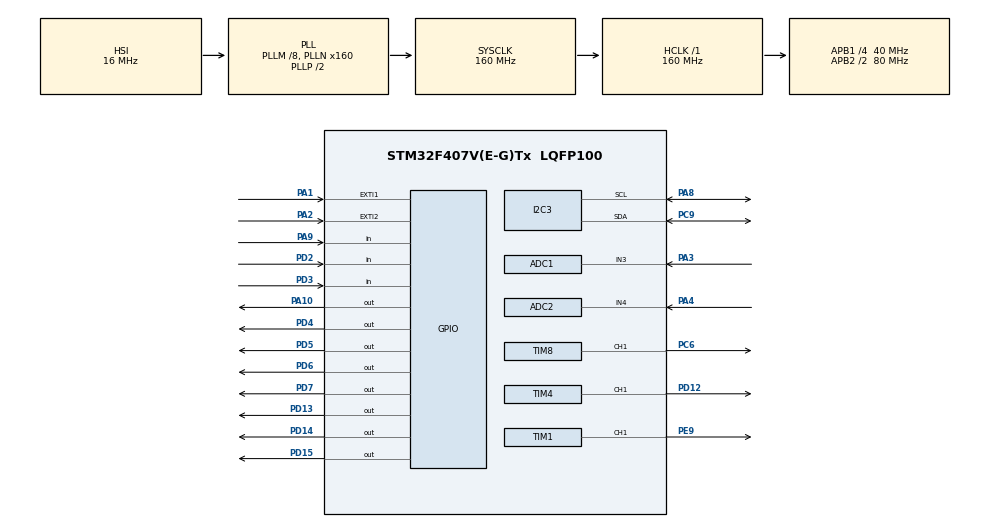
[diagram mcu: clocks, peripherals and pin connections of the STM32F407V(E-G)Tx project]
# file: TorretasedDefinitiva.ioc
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ADC1.Channel-0\#ChannelRegularConversion=ADC_CHANNEL_3
ADC1.NbrOfConversionFlag=1
ADC1.Rank-0\#ChannelRegularConversion=1
ADC1.SamplingTime-0\#ChannelRegularConversion=ADC_SAMPLETIME_3CYCLES
ADC1.master=1
ADC2.Channel-0\#ChannelRegularConversion=ADC_CHANNEL_4
ADC2.NbrOfConversionFlag=1
ADC2.Rank-0\#ChannelRegularConversion=1
ADC2.SamplingTime-0\#ChannelRegularConversion=ADC_SAMPLETIME_3CYCLES
Mcu.Family=STM32F4
Mcu.Name=STM32F407V(E-G)Tx
Mcu.Package=LQFP100
NVIC.EXTI1_IRQn=true\:0\:0\:false\:false\:true\:true\:true
NVIC.EXTI2_IRQn=true\:0\:0\:false\:false\:true\:true\:true
NVIC.PriorityGroup=NVIC_PRIORITYGROUP_0
PA1.Signal=GPXTI1
PA10.Signal=GPIO_Output
PA2.Signal=GPXTI2
PA3.Signal=ADCx_IN3
PA4.Signal=ADCx_IN4
PA8.Mode=I2C
PA8.Signal=I2C3_SCL
PA9.Signal=GPIO_Input
PC6.Signal=S_TIM8_CH1
PC9.Mode=I2C
PC9.Signal=I2C3_SDA
PD12.Signal=S_TIM4_CH1
PD13.Signal=GPIO_Output
PD14.Signal=GPIO_Output
PD15.Signal=GPIO_Output
PD2.Signal=GPIO_Input
PD3.Signal=GPIO_Input
PD4.Signal=GPIO_Output
PD5.Signal=GPIO_Output
PD6.Signal=GPIO_Output
PD7.Signal=GPIO_Output
PE9.Signal=S_TIM1_CH1
ProjectManager.HeapSize=0x200
ProjectManager.StackSize=0x400
ProjectManager.TargetToolchain=MDK-ARM V5
RCC.48MHZClocksFreq_Value=45714285.71428572
RCC.AHBFreq_Value=160000000
RCC.APB1CLKDivider=RCC_HCLK_DIV4
RCC.APB1Freq_Value=40000000
RCC.APB1TimFreq_Value=80000000
RCC.APB2CLKDivider=RCC_HCLK_DIV2
RCC.APB2Freq_Value=80000000
RCC.APB2TimFreq_Value=160000000
RCC.CortexFreq_Value=160000000
RCC.HCLKFreq_Value=160000000
RCC.HSE_VALUE=8000000
RCC.HSI_VALUE=16000000
RCC.LSE_VALUE=32768
RCC.PLLM=8
RCC.PLLN=160
RCC.PLLQ=7
RCC.SYSCLKFreq_VALUE=160000000
RCC.SYSCLKSource=RCC_SYSCLKSOURCE_PLLCLK
RCC.VCOOutputFreq_Value=320000000
SH.ADCx_IN3.0=ADC1_IN3,IN3
SH.ADCx_IN4.0=ADC2_IN4,IN4
SH.S_TIM1_CH1.0=TIM1_CH1,PWM Generation1 CH1
SH.S_TIM4_CH1.0=TIM4_CH1,PWM Generation1 CH1
SH.S_TIM8_CH1.0=TIM8_CH1,PWM Generation1 CH1
TIM1.Channel-PWM\ Generation1\ CH1=TIM_CHANNEL_1
TIM1.Period=1999
TIM1.Prescaler=1599
TIM4.Channel-PWM\ Generation1\ CH1=TIM_CHANNEL_1
TIM4.Period=1999
TIM4.Prescaler=799
TIM8.Channel-PWM\ Generation1\ CH1=TIM_CHANNEL_1
TIM8.Prescaler=159
board=STM32F407G-DISC1

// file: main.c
/* USER CODE BEGIN Header */
/**
  ******************************************************************************
  * @file           : main.c
  * @brief          : Main program body
  ******************************************************************************
  * @attention
  *
  * <h2><center>&copy; Copyright (c) 2020 STMicroelectronics.
  * All rights reserved.</center></h2>
  *
  * This software component is licensed by ST under BSD 3-Clause license,
  * the "License"; You may not use this file except in compliance with the
  * License. You may obtain a copy of the License at:
  *                        opensource.org/licenses/BSD-3-Clause
  *
  ******************************************************************************
  */
/* USER CODE END Header */

#include "main.h"

ADC_HandleTypeDef hadc1;
ADC_HandleTypeDef hadc2;

I2C_HandleTypeDef hi2c3;

TIM_HandleTypeDef htim1;
TIM_HandleTypeDef htim4;
TIM_HandleTypeDef htim8;

void SystemClock_Config(void);
static void MX_GPIO_Init(void);
static void MX_ADC1_Init(void);
static void MX_I2C3_Init(void);
static void MX_TIM1_Init(void);
static void MX_TIM4_Init(void);
static void MX_TIM8_Init(void);
static void MX_ADC2_Init(void);

/* USER CODE BEGIN 0 */
#define d_min 10
#define d_max 30
#define DirI2C_MLX 0x5A

void servo_vertical(int angulo);
void servo_horizontal(int angulo);
void usDelay(uint32_t );
void Delay(int );
int moverMapeo();
int triangulo(int, int);
int hayPersona();
float medirDistancia ();
float medirTemperatura ();
float medirTempAmb(I2C_HandleTypeDef* DriverI2C, uint8_t DireccI2C );
float medirTempObj(I2C_HandleTypeDef* DriverI2C, uint8_t DireccI2C );
int mapeado (int st1 , int fn1, int st2 , int fn2, int valor);
void joystick();

volatile int iniciar=0,finalizar=0;
uint32_t adcVal0=0,adcVal1;
uint32_t dis,tobj,tamb;
int gradosz,gradosx;

void HAL_GPIO_EXTI_Callback(uint16_t GPIO_Pin)
{
 if(GPIO_Pin==GPIO_PIN_1)
	 iniciar=1;

}

/* USER CODE END 0 */

int main(void)
{
  /* USER CODE BEGIN 1 */
	int persona; float dm;

  HAL_GPIO_EXTI_IRQHandler(GPIO_PIN_1);
	HAL_GPIO_EXTI_IRQHandler(GPIO_PIN_2);

  /* USER CODE END 1 */

  /* MCU Configuration--------------------------------------------------------*/

  /* Reset of all peripherals, Initializes the Flash interface and the Systick. */
  HAL_Init();

  /* Configure the system clock */
  SystemClock_Config();

  /* Initialize all configured peripherals */
  MX_GPIO_Init();
  MX_ADC1_Init();
  MX_I2C3_Init();
  MX_TIM1_Init();
  MX_TIM4_Init();
  MX_TIM8_Init();
  MX_ADC2_Init();
  /* USER CODE BEGIN 2 */
	HAL_TIM_PWM_Start(&htim4, TIM_CHANNEL_1);
  HAL_TIM_PWM_Start(&htim1, TIM_CHANNEL_1);
	int modo=0;
	float numTicks, medida=0;

  /* USER CODE END 2 */

  /* Infinite loop */
  while (1)
  {
 HAL_NVIC_EnableIRQ(EXTI1_IRQn);
		if ( HAL_GPIO_ReadPin(GPIOD,GPIO_PIN_2)==0 && iniciar==1){
		if(moverMapeo())
			{
				HAL_GPIO_WritePin(GPIOD,GPIO_PIN_6,1);
				Delay(5000);
			}}
		else
				if (HAL_GPIO_ReadPin(GPIOD,GPIO_PIN_2)==1)
			joystick();
}
}

void SystemClock_Config(void)
{
  RCC_OscInitTypeDef RCC_OscInitStruct = {0};
  RCC_ClkInitTypeDef RCC_ClkInitStruct = {0};

  /** Configure the main internal regulator output voltage
  */
  __HAL_RCC_PWR_CLK_ENABLE();
  __HAL_PWR_VOLTAGESCALING_CONFIG(PWR_REGULATOR_VOLTAGE_SCALE1);
  /** Initializes the CPU, AHB and APB busses clocks
  */
  RCC_OscInitStruct.OscillatorType = RCC_OSCILLATORTYPE_HSI;
  RCC_OscInitStruct.HSIState = RCC_HSI_ON;
  RCC_OscInitStruct.HSICalibrationValue = RCC_HSICALIBRATION_DEFAULT;
  RCC_OscInitStruct.PLL.PLLState = RCC_PLL_ON;
  RCC_OscInitStruct.PLL.PLLSource = RCC_PLLSOURCE_HSI;
  RCC_OscInitStruct.PLL.PLLM = 8;
  RCC_OscInitStruct.PLL.PLLN = 160;
  RCC_OscInitStruct.PLL.PLLP = RCC_PLLP_DIV2;
  RCC_OscInitStruct.PLL.PLLQ = 7;
  if (HAL_RCC_OscConfig(&RCC_OscInitStruct) != HAL_OK)
  {
    Error_Handler();
  }
  /** Initializes the CPU, AHB and APB busses clocks
  */
  RCC_ClkInitStruct.ClockType = RCC_CLOCKTYPE_HCLK|RCC_CLOCKTYPE_SYSCLK
                              |RCC_CLOCKTYPE_PCLK1|RCC_CLOCKTYPE_PCLK2;
  RCC_ClkInitStruct.SYSCLKSource = RCC_SYSCLKSOURCE_PLLCLK;
  RCC_ClkInitStruct.AHBCLKDivider = RCC_SYSCLK_DIV1;
  RCC_ClkInitStruct.APB1CLKDivider = RCC_HCLK_DIV4;
  RCC_ClkInitStruct.APB2CLKDivider = RCC_HCLK_DIV2;

  if (HAL_RCC_ClockConfig(&RCC_ClkInitStruct, FLASH_LATENCY_5) != HAL_OK)
  {
    Error_Handler();
  }
}

static void MX_ADC1_Init(void)
{

  ADC_ChannelConfTypeDef sConfig = {0};

  /** Configure the global features of the ADC (Clock, Resolution, Data Alignment and number of conversion)
  */
  hadc1.Instance = ADC1;
  hadc1.Init.ClockPrescaler = ADC_CLOCK_SYNC_PCLK_DIV4;
  hadc1.Init.Resolution = ADC_RESOLUTION_12B;
  hadc1.Init.ScanConvMode = DISABLE;
  hadc1.Init.ContinuousConvMode = DISABLE;
  hadc1.Init.DiscontinuousConvMode = DISABLE;
  hadc1.Init.ExternalTrigConvEdge = ADC_EXTERNALTRIGCONVEDGE_NONE;
  hadc1.Init.ExternalTrigConv = ADC_SOFTWARE_START;
  hadc1.Init.DataAlign = ADC_DATAALIGN_RIGHT;
  hadc1.Init.NbrOfConversion = 1;
  hadc1.Init.DMAContinuousRequests = DISABLE;
  hadc1.Init.EOCSelection = ADC_EOC_SINGLE_CONV;
  if (HAL_ADC_Init(&hadc1) != HAL_OK)
  {
    Error_Handler();
  }
  /** Configure for the selected ADC regular channel its corresponding rank in the sequencer and its sample time.
  */
  sConfig.Channel = ADC_CHANNEL_3;
  sConfig.Rank = 1;
  sConfig.SamplingTime = ADC_SAMPLETIME_3CYCLES;
  if (HAL_ADC_ConfigChannel(&hadc1, &sConfig) != HAL_OK)
  {
    Error_Handler();
  }

}

static void MX_ADC2_Init(void)
{

  ADC_ChannelConfTypeDef sConfig = {0};

  /** Configure the global features of the ADC (Clock, Resolution, Data Alignment and number of conversion)
  */
  hadc2.Instance = ADC2;
  hadc2.Init.ClockPrescaler = ADC_CLOCK_SYNC_PCLK_DIV4;
  hadc2.Init.Resolution = ADC_RESOLUTION_12B;
  hadc2.Init.ScanConvMode = DISABLE;
  hadc2.Init.ContinuousConvMode = DISABLE;
  hadc2.Init.DiscontinuousConvMode = DISABLE;
  hadc2.Init.ExternalTrigConvEdge = ADC_EXTERNALTRIGCONVEDGE_NONE;
  hadc2.Init.ExternalTrigConv = ADC_SOFTWARE_START;
  hadc2.Init.DataAlign = ADC_DATAALIGN_RIGHT;
  hadc2.Init.NbrOfConversion = 1;
  hadc2.Init.DMAContinuousRequests = DISABLE;
  hadc2.Init.EOCSelection = ADC_EOC_SINGLE_CONV;
  if (HAL_ADC_Init(&hadc2) != HAL_OK)
  {
    Error_Handler();
  }
  /** Configure for the selected ADC regular channel its corresponding rank in the sequencer and its sample time.
  */
  sConfig.Channel = ADC_CHANNEL_4;
  sConfig.Rank = 1;
  sConfig.SamplingTime = ADC_SAMPLETIME_3CYCLES;
  if (HAL_ADC_ConfigChannel(&hadc2, &sConfig) != HAL_OK)
  {
    Error_Handler();
  }

}

static void MX_I2C3_Init(void)
{

  hi2c3.Instance = I2C3;
  hi2c3.Init.ClockSpeed = 100000;
  hi2c3.Init.DutyCycle = I2C_DUTYCYCLE_2;
  hi2c3.Init.OwnAddress1 = 0;
  hi2c3.Init.AddressingMode = I2C_ADDRESSINGMODE_7BIT;
  hi2c3.Init.DualAddressMode = I2C_DUALADDRESS_DISABLE;
  hi2c3.Init.OwnAddress2 = 0;
  hi2c3.Init.GeneralCallMode = I2C_GENERALCALL_DISABLE;
  hi2c3.Init.NoStretchMode = I2C_NOSTRETCH_DISABLE;
  if (HAL_I2C_Init(&hi2c3) != HAL_OK)
  {
    Error_Handler();
  }

}

static void MX_TIM1_Init(void)
{

  TIM_MasterConfigTypeDef sMasterConfig = {0};
  TIM_OC_InitTypeDef sConfigOC = {0};
  TIM_BreakDeadTimeConfigTypeDef sBreakDeadTimeConfig = {0};

  htim1.Instance = TIM1;
  htim1.Init.Prescaler = 1599;
  htim1.Init.CounterMode = TIM_COUNTERMODE_UP;
  htim1.Init.Period = 1999;
  htim1.Init.ClockDivision = TIM_CLOCKDIVISION_DIV1;
  htim1.Init.RepetitionCounter = 0;
  htim1.Init.AutoReloadPreload = TIM_AUTORELOAD_PRELOAD_DISABLE;
  if (HAL_TIM_PWM_Init(&htim1) != HAL_OK)
  {
    Error_Handler();
  }
  sMasterConfig.MasterOutputTrigger = TIM_TRGO_RESET;
  sMasterConfig.MasterSlaveMode = TIM_MASTERSLAVEMODE_DISABLE;
  if (HAL_TIMEx_MasterConfigSynchronization(&htim1, &sMasterConfig) != HAL_OK)
  {
    Error_Handler();
  }
  sConfigOC.OCMode = TIM_OCMODE_PWM1;
  sConfigOC.Pulse = 0;
  sConfigOC.OCPolarity = TIM_OCPOLARITY_HIGH;
  sConfigOC.OCNPolarity = TIM_OCNPOLARITY_HIGH;
  sConfigOC.OCFastMode = TIM_OCFAST_DISABLE;
  sConfigOC.OCIdleState = TIM_OCIDLESTATE_RESET;
  sConfigOC.OCNIdleState = TIM_OCNIDLESTATE_RESET;
  if (HAL_TIM_PWM_ConfigChannel(&htim1, &sConfigOC, TIM_CHANNEL_1) != HAL_OK)
  {
    Error_Handler();
  }
  sBreakDeadTimeConfig.OffStateRunMode = TIM_OSSR_DISABLE;
  sBreakDeadTimeConfig.OffStateIDLEMode = TIM_OSSI_DISABLE;
  sBreakDeadTimeConfig.LockLevel = TIM_LOCKLEVEL_OFF;
  sBreakDeadTimeConfig.DeadTime = 0;
  sBreakDeadTimeConfig.BreakState = TIM_BREAK_DISABLE;
  sBreakDeadTimeConfig.BreakPolarity = TIM_BREAKPOLARITY_HIGH;
  sBreakDeadTimeConfig.AutomaticOutput = TIM_AUTOMATICOUTPUT_DISABLE;
  if (HAL_TIMEx_ConfigBreakDeadTime(&htim1, &sBreakDeadTimeConfig) != HAL_OK)
  {
    Error_Handler();
  }
  HAL_TIM_MspPostInit(&htim1);

}

static void MX_TIM4_Init(void)
{

  TIM_MasterConfigTypeDef sMasterConfig = {0};
  TIM_OC_InitTypeDef sConfigOC = {0};

  htim4.Instance = TIM4;
  htim4.Init.Prescaler = 799;
  htim4.Init.CounterMode = TIM_COUNTERMODE_UP;
  htim4.Init.Period = 1999;
  htim4.Init.ClockDivision = TIM_CLOCKDIVISION_DIV1;
  htim4.Init.AutoReloadPreload = TIM_AUTORELOAD_PRELOAD_DISABLE;
  if (HAL_TIM_PWM_Init(&htim4) != HAL_OK)
  {
    Error_Handler();
  }
  sMasterConfig.MasterOutputTrigger = TIM_TRGO_RESET;
  sMasterConfig.MasterSlaveMode = TIM_MASTERSLAVEMODE_DISABLE;
  if (HAL_TIMEx_MasterConfigSynchronization(&htim4, &sMasterConfig) != HAL_OK)
  {
    Error_Handler();
  }
  sConfigOC.OCMode = TIM_OCMODE_PWM1;
  sConfigOC.Pulse = 0;
  sConfigOC.OCPolarity = TIM_OCPOLARITY_HIGH;
  sConfigOC.OCFastMode = TIM_OCFAST_DISABLE;
  if (HAL_TIM_PWM_ConfigChannel(&htim4, &sConfigOC, TIM_CHANNEL_1) != HAL_OK)
  {
    Error_Handler();
  }
  HAL_TIM_MspPostInit(&htim4);

}

static void MX_TIM8_Init(void)
{

  TIM_MasterConfigTypeDef sMasterConfig = {0};
  TIM_OC_InitTypeDef sConfigOC = {0};
  TIM_BreakDeadTimeConfigTypeDef sBreakDeadTimeConfig = {0};

  htim8.Instance = TIM8;
  htim8.Init.Prescaler = 159;
  htim8.Init.CounterMode = TIM_COUNTERMODE_UP;
  htim8.Init.Period = 0;
  htim8.Init.ClockDivision = TIM_CLOCKDIVISION_DIV1;
  htim8.Init.RepetitionCounter = 0;
  htim8.Init.AutoReloadPreload = TIM_AUTORELOAD_PRELOAD_DISABLE;
  if (HAL_TIM_PWM_Init(&htim8) != HAL_OK)
  {
    Error_Handler();
  }
  sMasterConfig.MasterOutputTrigger = TIM_TRGO_RESET;
  sMasterConfig.MasterSlaveMode = TIM_MASTERSLAVEMODE_DISABLE;
  if (HAL_TIMEx_MasterConfigSynchronization(&htim8, &sMasterConfig) != HAL_OK)
  {
    Error_Handler();
  }
  sConfigOC.OCMode = TIM_OCMODE_PWM1;
  sConfigOC.Pulse = 0;
  sConfigOC.OCPolarity = TIM_OCPOLARITY_HIGH;
  sConfigOC.OCNPolarity = TIM_OCNPOLARITY_HIGH;
  sConfigOC.OCFastMode = TIM_OCFAST_DISABLE;
  sConfigOC.OCIdleState = TIM_OCIDLESTATE_RESET;
  sConfigOC.OCNIdleState = TIM_OCNIDLESTATE_RESET;
  if (HAL_TIM_PWM_ConfigChannel(&htim8, &sConfigOC, TIM_CHANNEL_1) != HAL_OK)
  {
    Error_Handler();
  }
  sBreakDeadTimeConfig.OffStateRunMode = TIM_OSSR_DISABLE;
  sBreakDeadTimeConfig.OffStateIDLEMode = TIM_OSSI_DISABLE;
  sBreakDeadTimeConfig.LockLevel = TIM_LOCKLEVEL_OFF;
  sBreakDeadTimeConfig.DeadTime = 0;
  sBreakDeadTimeConfig.BreakState = TIM_BREAK_DISABLE;
  sBreakDeadTimeConfig.BreakPolarity = TIM_BREAKPOLARITY_HIGH;
  sBreakDeadTimeConfig.AutomaticOutput = TIM_AUTOMATICOUTPUT_DISABLE;
  if (HAL_TIMEx_ConfigBreakDeadTime(&htim8, &sBreakDeadTimeConfig) != HAL_OK)
  {
    Error_Handler();
  }
  HAL_TIM_MspPostInit(&htim8);

}

static void MX_GPIO_Init(void)
{
  GPIO_InitTypeDef GPIO_InitStruct = {0};

  /* GPIO Ports Clock Enable */
  __HAL_RCC_GPIOA_CLK_ENABLE();
  __HAL_RCC_GPIOE_CLK_ENABLE();
  __HAL_RCC_GPIOD_CLK_ENABLE();
  __HAL_RCC_GPIOC_CLK_ENABLE();

  /*Configure GPIO pin Output Level */
  HAL_GPIO_WritePin(GPIOD, GPIO_PIN_13|GPIO_PIN_14|GPIO_PIN_15|GPIO_PIN_4
                          |GPIO_PIN_5|GPIO_PIN_6|GPIO_PIN_7, GPIO_PIN_RESET);

  /*Configure GPIO pin Output Level */
  HAL_GPIO_WritePin(GPIOA, GPIO_PIN_10, GPIO_PIN_RESET);

  /*Configure GPIO pins : PA1 PA2 */
  GPIO_InitStruct.Pin = GPIO_PIN_1|GPIO_PIN_2;
  GPIO_InitStruct.Mode = GPIO_MODE_IT_RISING;
  GPIO_InitStruct.Pull = GPIO_NOPULL;
  HAL_GPIO_Init(GPIOA, &GPIO_InitStruct);

  /*Configure GPIO pins : PD13 PD14 PD15 PD4
                           PD5 PD6 PD7 */
  GPIO_InitStruct.Pin = GPIO_PIN_13|GPIO_PIN_14|GPIO_PIN_15|GPIO_PIN_4
                          |GPIO_PIN_5|GPIO_PIN_6|GPIO_PIN_7;
  GPIO_InitStruct.Mode = GPIO_MODE_OUTPUT_PP;
  GPIO_InitStruct.Pull = GPIO_NOPULL;
  GPIO_InitStruct.Speed = GPIO_SPEED_FREQ_LOW;
  HAL_GPIO_Init(GPIOD, &GPIO_InitStruct);

  /*Configure GPIO pin : PA9 */
  GPIO_InitStruct.Pin = GPIO_PIN_9;
  GPIO_InitStruct.Mode = GPIO_MODE_INPUT;
  GPIO_InitStruct.Pull = GPIO_NOPULL;
  HAL_GPIO_Init(GPIOA, &GPIO_InitStruct);

  /*Configure GPIO pin : PA10 */
  GPIO_InitStruct.Pin = GPIO_PIN_10;
  GPIO_InitStruct.Mode = GPIO_MODE_OUTPUT_PP;
  GPIO_InitStruct.Pull = GPIO_NOPULL;
  GPIO_InitStruct.Speed = GPIO_SPEED_FREQ_LOW;
  HAL_GPIO_Init(GPIOA, &GPIO_InitStruct);

  /*Configure GPIO pins : PD2 PD3 */
  GPIO_InitStruct.Pin = GPIO_PIN_2|GPIO_PIN_3;
  GPIO_InitStruct.Mode = GPIO_MODE_INPUT;
  GPIO_InitStruct.Pull = GPIO_NOPULL;
  HAL_GPIO_Init(GPIOD, &GPIO_InitStruct);

  /* EXTI interrupt init*/
  HAL_NVIC_SetPriority(EXTI1_IRQn, 0, 0);
  HAL_NVIC_EnableIRQ(EXTI1_IRQn);

  HAL_NVIC_SetPriority(EXTI2_IRQn, 0, 0);
  HAL_NVIC_EnableIRQ(EXTI2_IRQn);

}

/* USER CODE BEGIN 4 */
int mapeado (int st1 , int fn1, int st2 , int fn2, int valor)
{
 return ((1.0*(valor-st1))/((fn1-st1)*1.0) * (fn2-st2)+st2);
}
void servo_vertical(int angulo)
{
  htim4.Instance->CCR1=mapeado(0,180,100,200,angulo);
}
void servo_horizontal(int angulo)
{
  htim1.Instance->CCR1=mapeado(0,180,100,200,angulo);
}
void usDelay (uint32_t uSec){

	if(uSec<2) uSec=2;
	TIM8->ARR=uSec-1;
	TIM8->EGR=1;
	TIM8->SR &= ~ 1;
	TIM8->CR1|=1;
	while ((TIM8->SR&0X0001)!=1);
		TIM8->SR &= ~ (0X0001);
}

void Delay(int milis)
{
int flag = HAL_GetTick();
while(HAL_GetTick()-flag<milis);
}

int moverMapeo()
{
	for(int n=0;n<6;n++)
		if(triangulo(30*n,30*(n+1))) return 1;
	for(int n=6;n>0;n--)
		if(triangulo(30*(n+1),30*n)) return 1;
	return 0;
}

int triangulo(int i, int f)
{
	int vert[5]={160,120,80,120,160};
	for(int n=0;n<5;n++)
	{
		servo_vertical(i+(f-i)*n/5);
		Delay(150);
		servo_horizontal(vert[n]);
		Delay(500);
		if(hayPersona()==1)return 1;
	}
	return 0;
}

int hayPersona()
{
	//float distancia = medirDistancia();
	float temp_obj = medirTempObj( &hi2c3, DirI2C_MLX );
	float temp_amb = medirTempAmb( &hi2c3, DirI2C_MLX );
	tobj=temp_obj;
	tamb=temp_amb;
	//dis=distancia;
	//if ( temp_obj > temp_amb+30)
		//			{ return 1;}

	return 0;
}
float medirDistancia ()
{ int medida;
	Delay(100);
	float numTicks;
	HAL_GPIO_WritePin(GPIOA,GPIO_PIN_10,0);
		usDelay(4);
		HAL_GPIO_WritePin(GPIOA,GPIO_PIN_10,1);
		usDelay(10);
		HAL_GPIO_WritePin(GPIOA,GPIO_PIN_10,0);
		medida=HAL_GetTick();
		while (HAL_GPIO_ReadPin(GPIOA,GPIO_PIN_9)==0)
		{
			if(HAL_GetTick()-medida>500)
			{
				HAL_GPIO_WritePin(GPIOA,GPIO_PIN_10,0);
		usDelay(4);
		HAL_GPIO_WritePin(GPIOA,GPIO_PIN_10,1);
		usDelay(10);
		HAL_GPIO_WritePin(GPIOA,GPIO_PIN_10,0);
		medida=HAL_GetTick();
		HAL_GPIO_WritePin(GPIOB,GPIO_PIN_5,0);HAL_GPIO_WritePin(GPIOB,GPIO_PIN_6,0);
			}
		}

		while (HAL_GPIO_ReadPin(GPIOA,GPIO_PIN_9)==1)
		{
			numTicks++;
			usDelay(2);
		}

		return((0.0+numTicks)*2.8*0.0343/2);

}

float medirTempAmb(I2C_HandleTypeDef* DriverI2C, uint8_t DireccI2C ){

	static const uint8_t RegTempAmb = 0x06;	//Registro que contiene el dato de la temp ambiente
	uint8_t  Data[3]; //vector que contendrá los datos del I2C
	float temp ;
	uint8_t DireccI2C_desplaz = (DireccI2C << 1);
	//HAL_StatusTypeDef HAL_I2C_Mem_Read(I2C_HandleTypeDef * hi2c, uint16_t DevAddress, uint16_t MemAddress, uint16_t MemAddSize, uint8_t * pData, uint16_t Size, uint32_t Timeout)

	 while ( HAL_I2C_Mem_Read(DriverI2C, DireccI2C_desplaz, RegTempAmb, 1, Data, 3, 100) != HAL_OK);	////Comprueba que se lee correcamente el dato en bucle
		//Leemos de una dirección de memoria del registro el tamaño de 1 Byte para que nos devuelva 3 Bytes enteros
	 	 //La dirección del I2C ha de estar desplazada en 1 bit a la derecha para indicar lectura  (datasheet) pasa de 0x5A -> 0XB4

	temp = (float) (((Data[1] & 0x007F) << 8) | Data[0]);
	temp = (temp * 0.02)- 273.15 -3.0;	//Conversión de dato a temperatura en ºC con sensibilidad de 0.02 (datasheets)

	return temp;
}

float medirTempObj(I2C_HandleTypeDef* DriverI2C, uint8_t DireccI2C ){

	static const uint8_t RegTempObj = 0x07;			//Registro que contiene el dato de la temp del objeto
	uint8_t  Data[3]; //vector que contendrá los datos del I2C
	float temp ;
	uint8_t DireccI2C_desplaz = (DireccI2C << 1);
	//HAL_StatusTypeDef HAL_I2C_Mem_Read(I2C_HandleTypeDef * hi2c, uint16_t DevAddress, uint16_t MemAddress, uint16_t MemAddSize, uint8_t * pData, uint16_t Size, uint32_t Timeout)

	 while ( HAL_I2C_Mem_Read(DriverI2C, DireccI2C_desplaz, RegTempObj, 1, Data, 3, 100) != HAL_OK);	////Comprueba que se lee correcamente el dato en bucle
		//Leemos de una dirección de memoria del registro el tamaño de 1 Byte para que nos devuelva 3 Bytes enteros
	 	 //La dirección del I2C ha de estar desplazada en 1 bit a la derecha para indicar lectura  (datasheet) pasa de 0x5A -> 0XB4

	temp = (float) (((Data[1] & 0x007F) << 8) | Data[0]);
	temp = (temp * 0.02)- 273.15;	//Conversión de dato a temperatura en ºC con sensibilidad de 0.02 (datasheets)

	return temp;
}

void joystick () {
	if(HAL_GPIO_ReadPin(GPIOD,GPIO_PIN_3))
				HAL_GPIO_WritePin(GPIOD,GPIO_PIN_6,1);
	else
				HAL_GPIO_WritePin(GPIOD,GPIO_PIN_6,0);

	HAL_ADC_Start(&hadc1);
    if (HAL_ADC_PollForConversion(&hadc1,5)==HAL_OK)
		adcVal0=HAL_ADC_GetValue(&hadc1);
gradosz=mapeado(0,4100,0,180,adcVal0);
servo_vertical(gradosz);
HAL_ADC_Start(&hadc2);
if (HAL_ADC_PollForConversion(&hadc2,5)==HAL_OK)
	adcVal1=HAL_ADC_GetValue(&hadc2);
gradosx=mapeado(0,4100,0,180,adcVal1);
servo_horizontal(gradosx);
}

/* USER CODE END 4 */

void Error_Handler(void)
{
}

/************************ (C) COPYRIGHT STMicroelectronics *****END OF FILE****/
